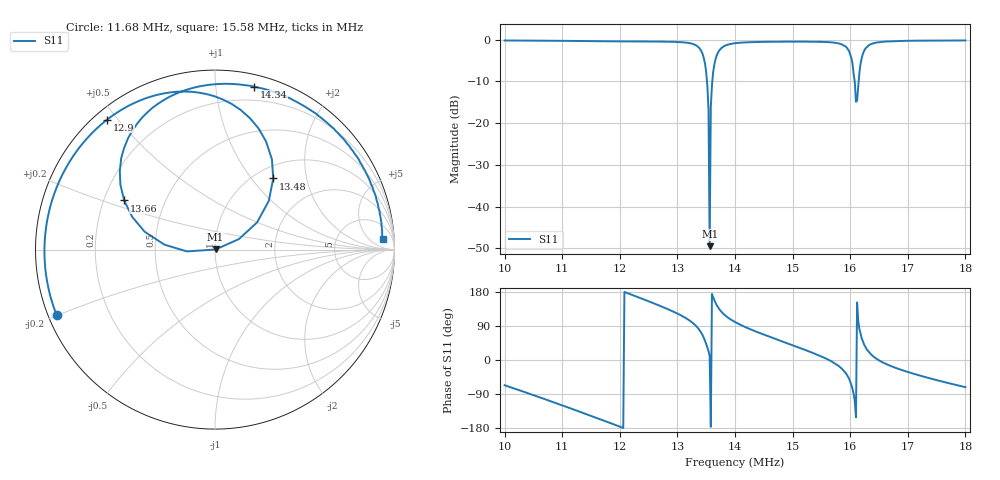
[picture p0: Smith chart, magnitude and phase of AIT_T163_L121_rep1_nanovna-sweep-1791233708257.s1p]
! NanoVNA Web complex sweep
! Processing: original sample grid, no browser smoothing
# Hz S RI R 50
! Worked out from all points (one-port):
!   401 points, 10 MHz to 18 MHz, reference 50 ohm
!   lowest |S11| = -49.5 dB at 13.56 MHz (marker M1), VSWR 1.01, Z = 50.3 + j0.0652 ohm
!   |S11| at or under -10 dB: 13.51 MHz to 13.61 MHz (92.86 kHz wide, 0.685 % of centre); 16.07776 MHz to 16.14688 MHz (69.13 kHz wide, 0.429 % of centre)
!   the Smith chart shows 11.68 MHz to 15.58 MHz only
!   S11 on the Smith chart (normalised r, x): 11.68 MHz: 0.02, -0.20; 12.9 MHz: 0.04, +0.47; 13.48 MHz: 1.20, +1.29; 13.66 MHz: 0.29, +0.23; 14.34 MHz: 0.09, +1.27; 15.58 MHz: 16, +15
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1e7  0.3877 -0.8944
1.1e7  -0.4785 -0.8391
1.168e7  -0.8827 -0.364
1.2e7  -0.9484 -0.0691
1.29e7  -0.6009 0.7241
1.3e7  -0.5035 0.7891
1.332e7  -0.00497 0.855
1.348e7  0.3245 0.3965
1.35e7  0.2998 0.2717
1.352e7  0.2347 0.1518
1.356e7  0.00329 0.000648
1.36e7  -0.2819 0.0277
1.362e7  -0.3919 0.0995
1.366e7  -0.5058 0.2737
1.38e7  -0.4346 0.7006
1.4e7  -0.1602 0.8901
1.434e7  0.2183 0.9078
1.5e7  0.7348 0.592
1.558e7  0.9332 0.0601
1.584e7  0.827 -0.3151
1.6e7  0.3595 -0.5537
1.61e7  -0.1573 -0.0869
1.616e7  0.0611 0.3966
1.622e7  0.435 0.5147
1.632e7  0.7902 0.3195
1.644e7  0.9107 0.0784
1.7e7  0.8233 -0.5069
1.8e7  0.3069 -0.9264
